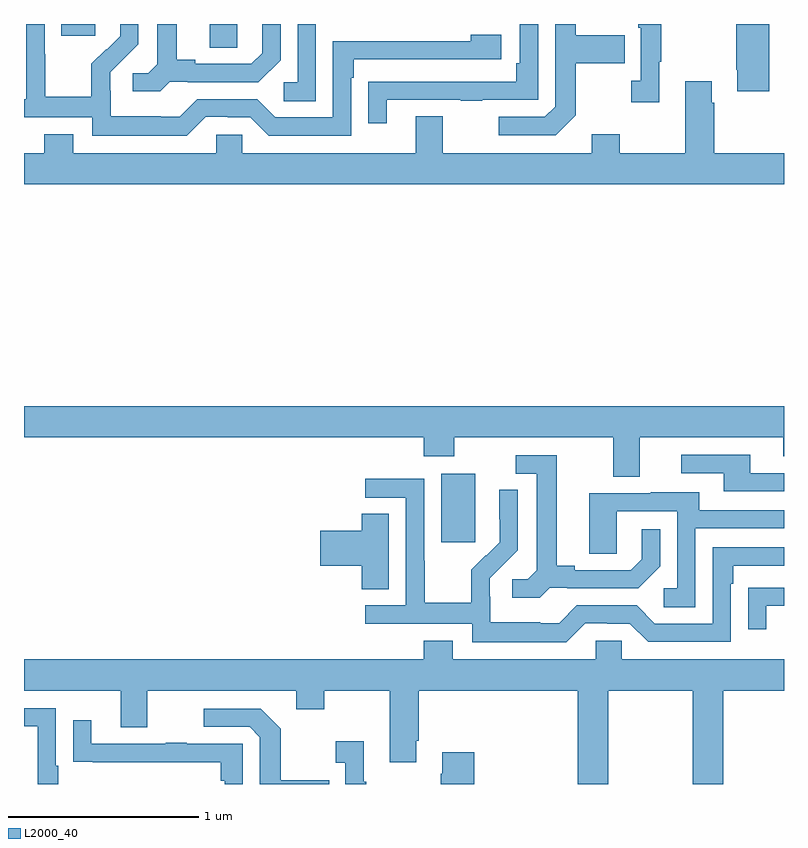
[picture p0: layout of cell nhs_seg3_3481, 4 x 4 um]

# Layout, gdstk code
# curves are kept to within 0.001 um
import gdstk
lib = gdstk.Library(unit=1e-6, precision=1e-09)
def R(c, l, rs):  # rectangles x0, y0, x1, y1
    for r in rs: c.add(gdstk.rectangle(r[:2], r[2:], *l))
def P(c, l, *ps):  # polygons
    for p in ps: c.add(gdstk.Polygon(p, *l))
L2000_40 = (2000, 40)

nhs_seg3_3481 = lib.new_cell('nhs_seg3_3481')
R(nhs_seg3_3481, L2000_40, [(293.195,725.673,293.374,726.034), (291.977,728.275,292.122,728.4), (291.197,728.337,291.376,728.4)])
P(nhs_seg3_3481, L2000_40, [(291.768,728.097),(291.862,728.097),(291.862,728.094),(292.234,728.094),(292.35,728.21),(292.35,728.4),(292.253,728.4),(292.253,728.247),(292.196,728.19),(291.901,728.19),(291.901,728.213),(291.805,728.213),(291.805,728.4),(291.701,728.4),(291.701,728.189),(291.654,728.142),(291.573,728.142),(291.573,728.045),(291.716,728.045)],
  [(294.343,728.201),(294.355,728.201),(294.355,728.4),(294.234,728.4),(294.234,728.381),(294.246,728.381),(294.246,728.102),(294.195,728.102),(294.195,727.989),(294.343,727.989)],
  [(293.905,727.921),(293.905,728.194),(294.161,728.194),(294.161,728.341),(293.905,728.341),(293.905,728.4),(293.796,728.4),(293.796,727.965),(293.742,727.911),(293.499,727.911),(293.499,727.815),(293.799,727.815)],
  [(291.957,727.911),(292.073,727.911),(292.073,727.908),(292.191,727.908),(292.287,727.812),(292.722,727.812),(292.722,728.117),(292.735,728.117),(292.735,728.214),(293.512,728.214),(293.512,728.344),(293.351,728.344),(293.351,728.31),(292.626,728.31),(292.626,727.908),(292.323,727.908),(292.227,728.004),(291.912,728.004),(291.819,727.911),(291.719,727.911),(291.719,727.915),(291.456,727.915),(291.456,728.049),(291.454,728.049),(291.454,728.146),(291.6,728.294),(291.6,728.4),(291.506,728.4),(291.506,728.336),(291.435,728.265),(291.432,728.268),(291.355,728.191),(291.355,728.017),(291.111,728.017),(291.111,728.24),(291.108,728.24),(291.108,728.4),(291.012,728.4),(291.012,728.004),(291,728.004),(291,727.908),(291.36,727.908),(291.36,727.811),(291.857,727.811)],
  [(294.923,728.4),(294.748,728.4),(294.748,728.158),(294.755,728.158),(294.755,728.046),(294.923,728.046)],
  [(292.909,728.001),(293.299,728.001),(293.299,727.996),(293.411,727.996),(293.411,728.001),(293.706,728.001),(293.706,728.4),(293.61,728.4),(293.61,728.194),(293.59,728.194),(293.59,728.097),(292.915,728.097),(292.915,728.096),(292.813,728.096),(292.813,727.878),(292.909,727.878)],
  [(292.536,728.4),(292.44,728.4),(292.44,728.094),(292.368,728.094),(292.368,727.993),(292.536,727.993)],
  [(295,727.72),(294.632,727.72),(294.632,727.985),(294.619,727.985),(294.619,728.098),(294.479,728.098),(294.479,727.72),(294.135,727.72),(294.135,727.819),(293.987,727.819),(293.987,727.72),(293.203,727.72),(293.203,727.915),(293.063,727.915),(293.063,727.72),(292.149,727.72),(292.149,727.818),(292.011,727.818),(292.011,727.72),(291.259,727.72),(291.259,727.819),(291.107,727.819),(291.107,727.72),(291,727.72),(291,727.556),(295,727.556)],
  [(294.241,726.224),(294.995,726.224),(294.995,726.125),(295,726.125),(295,726.388),(291,726.388),(291,726.224),(293.105,726.224),(293.105,726.125),(293.265,726.125),(293.265,726.224),(294.101,726.224),(294.101,726.016),(294.241,726.016)],
  [(295,726.036),(294.823,726.036),(294.823,726.132),(294.459,726.132),(294.459,726.036),(294.683,726.036),(294.683,725.94),(295,725.94)],
  [(293.766,725.433),(293.86,725.433),(293.86,725.43),(294.232,725.43),(294.348,725.546),(294.348,725.74),(294.251,725.74),(294.251,725.583),(294.194,725.526),(293.899,725.526),(293.899,725.549),(293.803,725.549),(293.803,726.129),(293.589,726.129),(293.589,726.033),(293.699,726.033),(293.699,725.525),(293.652,725.478),(293.571,725.478),(293.571,725.381),(293.714,725.381)],
  [(293.955,725.247),(294.071,725.247),(294.071,725.244),(294.189,725.244),(294.285,725.148),(294.72,725.148),(294.72,725.453),(294.733,725.453),(294.733,725.55),(295,725.55),(295,725.646),(294.624,725.646),(294.624,725.244),(294.321,725.244),(294.225,725.34),(293.91,725.34),(293.817,725.247),(293.717,725.247),(293.717,725.251),(293.454,725.251),(293.454,725.385),(293.452,725.385),(293.452,725.482),(293.598,725.63),(293.598,725.948),(293.502,725.948),(293.502,725.794),(293.504,725.794),(293.504,725.672),(293.433,725.601),(293.43,725.604),(293.353,725.527),(293.353,725.353),(293.109,725.353),(293.109,725.576),(293.106,725.576),(293.106,726.006),(292.797,726.006),(292.797,725.907),(293.01,725.907),(293.01,725.34),(292.797,725.34),(292.797,725.244),(293.358,725.244),(293.358,725.147),(293.855,725.147)],
  [(294.534,725.745),(295,725.745),(295,725.841),(294.553,725.841),(294.553,725.935),(294.299,725.935),(294.299,725.931),(293.975,725.931),(293.975,725.611),(294.12,725.611),(294.12,725.835),(294.438,725.835),(294.438,725.43),(294.366,725.43),(294.366,725.329),(294.534,725.329)],
  [(292.921,725.822),(292.778,725.822),(292.778,725.732),(292.56,725.732),(292.56,725.549),(292.778,725.549),(292.778,725.425),(292.921,725.425)],
  [(294.907,725.337),(295,725.337),(295,725.433),(294.913,725.433),(294.913,725.432),(294.811,725.432),(294.811,725.214),(294.907,725.214)],
  [(294.075,724.892),(294.52,724.892),(294.52,724.4),(294.68,724.4),(294.68,724.892),(295,724.892),(295,725.056),(294.147,725.056),(294.147,725.154),(294.009,725.154),(294.009,725.056),(293.257,725.056),(293.257,725.155),(293.105,725.155),(293.105,725.056),(291,725.056),(291,724.892),(291.509,724.892),(291.509,724.698),(291.649,724.698),(291.649,724.892),(292.433,724.892),(292.433,724.793),(292.581,724.793),(292.581,724.892),(292.925,724.892),(292.925,724.515),(293.065,724.515),(293.065,724.627),(293.078,724.627),(293.078,724.892),(293.915,724.892),(293.915,724.4),(294.075,724.4)],
  [(291.181,724.495),(291.168,724.495),(291.168,724.8),(291,724.8),(291,724.704),(291.072,724.704),(291.072,724.4),(291.181,724.4)],
  [(292.607,724.419),(292.351,724.419),(292.351,724.691),(292.245,724.797),(291.945,724.797),(291.945,724.701),(292.188,724.701),(292.242,724.647),(292.242,724.4),(292.607,724.4)],
  [(292.152,724.611),(291.857,724.611),(291.857,724.616),(291.745,724.616),(291.745,724.611),(291.355,724.611),(291.355,724.735),(291.259,724.735),(291.259,724.516),(291.361,724.516),(291.361,724.515),(292.036,724.515),(292.036,724.418),(292.056,724.418),(292.056,724.4),(292.152,724.4)],
  [(292.801,724.411),(292.789,724.411),(292.789,724.624),(292.641,724.624),(292.641,724.511),(292.692,724.511),(292.692,724.4),(292.801,724.4)],
  [(293.369,724.567),(293.201,724.567),(293.201,724.454),(293.194,724.454),(293.194,724.4),(293.369,724.4)])

lib.write_gds('nhs_seg3_3481.gds')
